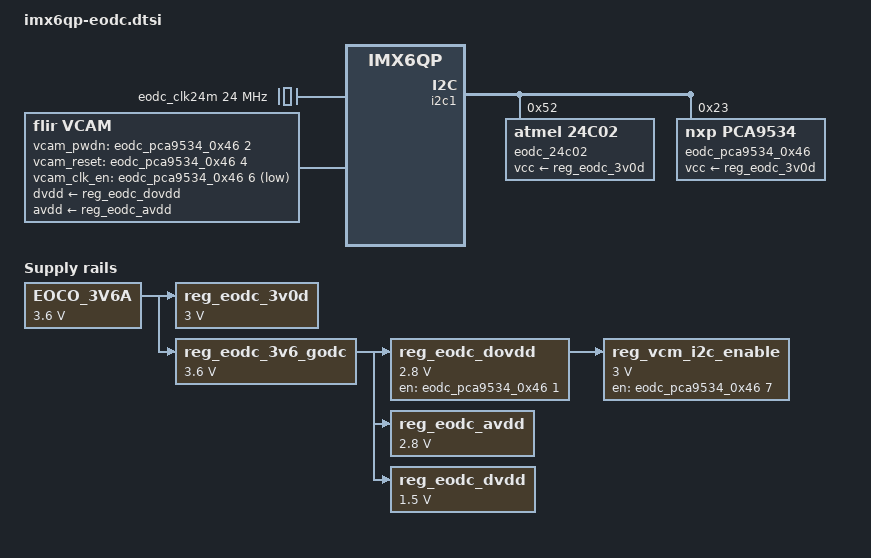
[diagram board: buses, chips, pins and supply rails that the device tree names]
/*
 * Copyright 2022 Teledyne FLIR
 *
 * The code contained herein is licensed under the GNU General Public
 * License. You may obtain a copy of the GNU General Public License
 * Version 2 or later at the following locations:
 *
 * http://www.opensource.org/licenses/gpl-license.html
 * http://www.gnu.org/copyleft/gpl.html
 */

#include <dt-bindings/input/input.h>

/ {

	clocks{
	eodc_clk24m: VCM_MCLK_0{
			compatible = "fixed-clock";
                        #clock-cells = <0>;
			clock-frequency = <24000000>;
			vin-supply = <&reg_eodc_3v0d>;
		};
	};

	vcam {
		compatible = "flir,vcam";
		vcam_paralell_interface = <1>;
		vcam_i2c_bus = <0>;
		vcam_pwdn-gpio = <&eodc_pca9534_0x46 2 GPIO_ACTIVE_HIGH>;
		vcam_reset-gpio = <&eodc_pca9534_0x46 4 GPIO_ACTIVE_HIGH>;
		vcam_clk_en-gpio = <&eodc_pca9534_0x46 6 GPIO_ACTIVE_LOW>;
		dvdd-supply = <&reg_eodc_dovdd>;
		avdd-supply = <&reg_eodc_avdd>;
		flipped_sensor = <0>;

	};

	regulators {
		compatible = "simple-bus";

	EOCO_3V6A: EOCO_3V6A {
			compatible = "regulator-fixed";
			regulator-name = "EOCO_3V6A";
			regulator-min-microvolt = <3600000>;
			regulator-max-microvolt = <3600000>;
			regulator-always-on; //Always enabled..
		};
		//Force i2c enable...
	reg_vcm_i2c_enable: reg_vcm_i2c_enable {
			compatible = "regulator-fixed";
			regulator-name = "EODC_I2C_ENABLE";
			regulator-min-microvolt = <3000000>;
			regulator-max-microvolt = <3000000>;
			startup-delay-us = <1000>;
			gpio = <&eodc_pca9534_0x46 7 GPIO_ACTIVE_HIGH>;
			vin-supply = <&reg_eodc_dovdd>;
			enable-active-high;
		};

	reg_eodc_3v0d: reg_eodc_3v0d {
			compatible = "regulator-fixed";
			regulator-name = "EODC_3V0D";
			regulator-min-microvolt = <3000000>;
			regulator-max-microvolt = <3000000>;
			vin-supply = <&EOCO_3V6A>;
			regulator-always-on; //Always enabled..
		};

	reg_eodc_3v6_godc: reg_eodc_3v6_godc {
			compatible = "regulator-fixed";
			regulator-name = "eodc_3v6_godc";
			regulator-min-microvolt = <3600000>;
			regulator-max-microvolt = <3600000>;
			vin-supply = <&EOCO_3V6A>;
			enable-active-high;
			regulator-always-on;
		};

	reg_eodc_dovdd: reg_eodc_dovdd {
			compatible = "regulator-fixed";
			regulator-name = "eodc_dovdd";
			regulator-min-microvolt = <2800000>;
			regulator-max-microvolt = <2800000>;
			startup-delay-us = <1000>;
			gpio = <&eodc_pca9534_0x46 1 GPIO_ACTIVE_HIGH>;
			vin-supply = <&reg_eodc_3v6_godc>;
			enable-active-high;
			regulator-always-on;
			regulator-boot-on; //Always enable..
		};

	reg_eodc_avdd: reg_eodc_avdd {
			compatible = "regulator-fixed";
			regulator-name = "eodc_avdd";
			regulator-min-microvolt = <2800000>;
			regulator-max-microvolt = <2800000>;
			vin-supply = <&reg_eodc_3v6_godc>;
			regulator-always-on;
		};

	reg_eodc_dvdd: reg_eodc_dvdd {
			compatible = "regulator-fixed";
			regulator-name = "eodc_dvdd";
			regulator-min-microvolt = <1500000>;
			regulator-max-microvolt = <1500000>;
			vin-supply = <&reg_eodc_3v6_godc>;
			enable-active-high;
			regulator-always-on;
		};

	};
  };





&i2c1 {
eodc_24c02: eodc_24c02@52 {
		compatible = "atmel,24c02";
		reg = <0x52>;
		pagesize = <16>;
		vcc-supply = <&reg_eodc_3v0d>;
	};

eodc_pca9534_0x46: eodc_pca9534_0x46@23 {
		compatible = "nxp,pca9534";
		reg = <0x23>;
		gpio-controller;
		vcc-supply = <&reg_eodc_3v0d>;
                #interrupt-cells = <2>;
                #gpio-cells = <2>;
		//B0 -
		//B1 VCM_Pwr_En
		//B2
		//B3 VCM_RESET
		//B4
		//B5
		//B6 VCM_Clk_En
		//B7 VCM_I2C_En
		};

/* ov564x: ov564x@3c { */
/* 		compatible = "ovti,ov564x"; */
/* 		reg = <0x3c>; */
/* 		pinctrl-names = "default"; */
/* 		pinctrl-0 = <&pinctrl_evco_csi0>; */
/* 		clocks = <&clks 201>; */
/* 		clock-names = "csi_mclk"; */
/* 		DOVDD-supply = <&reg_eodc_dovdd>; /\* 1.8v *\/ */
/* 		AVDD-supply = <&reg_eodc_avdd>;  /\* 2.8v, on rev C board is VGEN3, on rev B board is VGEN5 *\/ */
/* 		DVDD-supply = <&reg_eodc_dvdd>;  /\* 1.5v*\/ */
/* 		pwn-gpios = <&eodc_pca9534_0x46 2 GPIO_ACTIVE_HIGH>; */
/* 		rst-gpios = <&eodc_pca9534_0x46 3 GPIO_ACTIVE_HIGH>; */
/* 		csi_id = <0>; */
/* 		mclk = <24000000>; */
/* 		mclk_source = <0>; */
/* 	}; */


};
